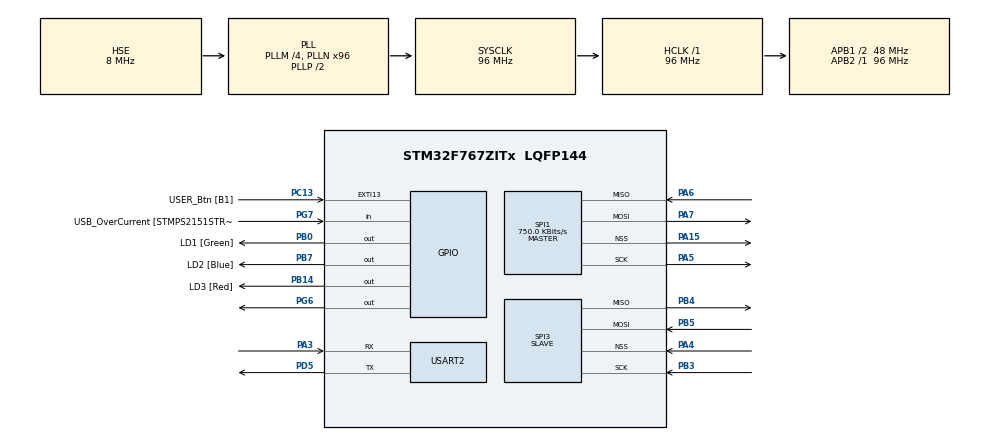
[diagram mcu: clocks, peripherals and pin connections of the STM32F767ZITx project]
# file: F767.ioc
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Mcu.Family=STM32F7
Mcu.Name=STM32F767ZITx
Mcu.Package=LQFP144
NVIC.PriorityGroup=NVIC_PRIORITYGROUP_4
NVIC.SPI1_IRQn=true\:0\:0\:false\:false\:true\:true\:true\:true
NVIC.SPI3_IRQn=true\:0\:0\:false\:false\:true\:true\:true\:true
PA13.GPIO_Label=TMS
PA13.Mode=Serial_Wire
PA13.Signal=SYS_JTMS-SWDIO
PA14.GPIO_Label=TCK
PA14.Mode=Serial_Wire
PA14.Signal=SYS_JTCK-SWCLK
PA15.Mode=NSS_Signal_Hard_Output
PA15.Signal=SPI1_NSS
PA3.Mode=Asynchronous
PA3.Signal=USART2_RX
PA4.Mode=NSS_Signal_Hard_Input
PA4.Signal=SPI3_NSS
PA5.Mode=Full_Duplex_Master
PA5.Signal=SPI1_SCK
PA6.Mode=Full_Duplex_Master
PA6.Signal=SPI1_MISO
PA7.Mode=Full_Duplex_Master
PA7.Signal=SPI1_MOSI
PB0.GPIO_Label=LD1 [Green]
PB0.Signal=GPIO_Output
PB14.GPIO_Label=LD3 [Red]
PB14.Signal=GPIO_Output
PB3.Mode=Full_Duplex_Slave
PB3.Signal=SPI3_SCK
PB4.Mode=Full_Duplex_Slave
PB4.Signal=SPI3_MISO
PB5.Mode=Full_Duplex_Slave
PB5.Signal=SPI3_MOSI
PB7.GPIO_Label=LD2 [Blue]
PB7.Signal=GPIO_Output
PC13.GPIO_Label=USER_Btn [B1]
PC13.Signal=GPXTI13
PC14/OSC32_IN.Mode=LSE-External-Oscillator
PC14/OSC32_IN.Signal=RCC_OSC32_IN
PC15/OSC32_OUT.Mode=LSE-External-Oscillator
PC15/OSC32_OUT.Signal=RCC_OSC32_OUT
PD5.Mode=Asynchronous
PD5.Signal=USART2_TX
PG6.Signal=GPIO_Output
PG7.GPIO_Label=USB_OverCurrent [STMPS2151STR_FAULT]
PG7.Signal=GPIO_Input
PH0/OSC_IN.GPIO_Label=MCO [STM32F103CBT6_PA8]
PH0/OSC_IN.Mode=HSE-External-Clock-Source
PH0/OSC_IN.Signal=RCC_OSC_IN
PH1/OSC_OUT.Mode=HSE-External-Clock-Source
PH1/OSC_OUT.Signal=RCC_OSC_OUT
ProjectManager.HeapSize=0x200
ProjectManager.StackSize=0x400
ProjectManager.TargetToolchain=STM32CubeIDE
RCC.48MHZClocksFreq_Value=24000000
RCC.AHBFreq_Value=96000000
RCC.APB1CLKDivider=RCC_HCLK_DIV2
RCC.APB1Freq_Value=48000000
RCC.APB1TimFreq_Value=96000000
RCC.APB2Freq_Value=96000000
RCC.APB2TimFreq_Value=96000000
RCC.CortexFreq_Value=96000000
RCC.HCLKFreq_Value=96000000
RCC.HSE_VALUE=8000000
RCC.HSI_VALUE=16000000
RCC.PLLM=4
RCC.PLLMUL=RCC_PLL_MUL9
RCC.PLLN=96
RCC.PLLQ=4
RCC.PLLSourceVirtual=RCC_PLLSOURCE_HSE
RCC.PRESCALERUSB=RCC_USBCLKSOURCE_PLL_DIV1_5
RCC.SYSCLKFreq_VALUE=96000000
RCC.SYSCLKSource=RCC_SYSCLKSOURCE_PLLCLK
RCC.SYSCLKSourceVirtual=RCC_SYSCLKSOURCE_PLLCLK
RCC.USBFreq_Value=48000000
RCC.VCOOutputFreq_Value=192000000
SPI1.BaudRatePrescaler=SPI_BAUDRATEPRESCALER_128
SPI1.CLKPhase=SPI_PHASE_1EDGE
SPI1.CLKPolarity=SPI_POLARITY_LOW
SPI1.CRCCalculation=SPI_CRCCALCULATION_DISABLE
SPI1.CalculateBaudRate=750.0 KBits/s
SPI1.DataSize=SPI_DATASIZE_8BIT
SPI1.Direction=SPI_DIRECTION_2LINES
SPI1.Mode=SPI_MODE_MASTER
SPI1.VirtualNSS=VM_NSSHARD
SPI1.VirtualType=VM_MASTER
SPI3.CLKPhase=SPI_PHASE_1EDGE
SPI3.CLKPolarity=SPI_POLARITY_LOW
SPI3.DataSize=SPI_DATASIZE_8BIT
SPI3.Direction=SPI_DIRECTION_2LINES
SPI3.Mode=SPI_MODE_SLAVE
SPI3.VirtualNSS=VM_NSSHARD
SPI3.VirtualType=VM_SLAVE
USART2.VirtualMode-Asynchronous=VM_ASYNC
board=NUCLEO-F767ZI

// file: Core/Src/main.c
/* USER CODE BEGIN Header */
/* USER CODE END Header */
#include "main.h"
#include "spi.h"
#include "usart.h"
#include "gpio.h"

/* USER CODE BEGIN Includes */

#include <string.h>
#include <stdlib.h>
#include "ringbuff.h"
#include "protocol.h"
#include "commands.h"
#include "stdarg.h"
#include "string.h"
#include <ctype.h>
#include <stdio.h>
/* USER CODE END Includes */

/* USER CODE BEGIN PV */
#define USART_TXBUF_LEN 300 //wielkość bufora nadawczego
#define USART_RXBUF_LEN 300 //wielkość bufore odbiorczego
#define BUF_ARCHIVE_LEN 3000 //wielkość bufore archiwum
uint8_t USART_TxBuf[USART_TXBUF_LEN];//tablica bufora nadawczego
uint8_t USART_RxBuf [USART_RXBUF_LEN];//tablica bufora odbiorczego
uint8_t BUF_Arch[BUF_ARCHIVE_LEN]; //tablica bufora archiwum

__IO int USART_TX_Empty = 0;
__IO int USART_TX_Busy = 0;
__IO int USART_RX_Empty = 0;
__IO int USART_RX_Busy = 0;
__IO int BUF_ARCH_Empty = 0;

uint8_t buffer[USART_RXBUF_LEN]; // tablica pomocnicza używana przy odczytywaniu ramki
uint8_t frameState = 0;
                        				// 0 - czekamy na początek ramki
										// 1 - ramka jest przetwarzana

const char device_address[3] = "STM";
char src_address[4];
uint8_t frameLen = 0; //ilość odebranych znaków w ramce
int commLength; // długość komendy

//bufor spi
int numbers[500];
uint8_t rxspibuf[500];
uint8_t txspibuf[500];

struct register_{
	uint8_t ONE_REG;
	uint8_t TWO_REG;
	uint8_t THREE_REG;
	uint8_t FOUR_REG;
	uint8_t FIVE_REG;
	uint8_t SIX_REG;
	uint8_t SEVEN_REG;
	uint8_t EIGHT_REG;
	uint8_t NINE_REG;
	uint8_t TEN_REG;
	uint8_t ELEVEN_REG;
	uint8_t TWELVE_REG;
	uint8_t THIRTEEN_REG;
	uint8_t FOURTEEN_REG;
	uint8_t FIFTEEN_REG;
	uint8_t SIXTEEN_REG;
};

struct register_ reg = {0};
uint32_t* regBaseAddr = (uint32_t*)&reg;
uint8_t regOffset = 1;

void set_reg(uint8_t reg_num, uint8_t value)
{
	if(reg_num<=16)
		*((uint8_t*)((uint32_t)regBaseAddr+(reg_num-1))) = value;
}

uint8_t SPI_Read_reg(uint8_t reg_num)
{
	uint8_t temp=0;

	HAL_SPI_Transmit(&hspi3, ((uint8_t*)((uint32_t)regBaseAddr+(reg_num-1))), 1, 100);
	HAL_SPI_Receive(&hspi1, &temp, 1, 100);
	return temp;
}

void SPI_Write_reg(uint8_t reg_num, int16_t value, uint8_t pos)
{
	uint8_t temp = 0;
	HAL_SPI_Transmit(&hspi1, &temp, 1, 100);
	HAL_SPI_Receive(&hspi3, rxspibuf, 5, 100); // flush SPI

	temp = SPI_Read_reg(reg_num);
	if(value > 0)
		temp |= value << pos;
	else if(value == 0)
		temp &= ~(1 << pos);
	else if(value == -1)
		temp = 0;

	HAL_SPI_Transmit(&hspi1, &temp, 1, 10);
	HAL_SPI_Receive(&hspi3, rxspibuf, 1, 10);
	HAL_SPI_Receive(&hspi3, rxspibuf, 1, 10);
	set_reg(reg_num, *rxspibuf);
}

//ODBIÓR
void HAL_UART_TxCpltCallback(UART_HandleTypeDef *huart){ // funkcja jest wywoływana gdy jest w trybie przerwań
	if(huart==&huart2){ // jeśli pojawia się przerwanie
		if (USART_TX_Empty!=USART_TX_Busy){
			uint8_t tmp=USART_TxBuf[USART_TX_Busy]; //pobieranie znaku z bufora
			USART_TX_Busy++; //korygowanie wskaznika
			if (USART_TX_Busy>=USART_TXBUF_LEN)USART_TX_Busy=0;
			HAL_UART_Transmit_IT(&huart2, &tmp, 1); //wysyłanie kolejnego bajtu 'danych'
		}
	}
}

//NADAWANIE
void HAL_UART_RxCpltCallback(UART_HandleTypeDef *huart){
	if(huart==&huart2){ // jeśli przerwanie nastąpiło to został odebrany znak
		USART_RX_Empty++;
        if (USART_RX_Empty>=USART_RXBUF_LEN)USART_RX_Empty=0;
        HAL_UART_Receive_IT(&huart2, &USART_RxBuf[USART_RX_Empty], 1); //wywołanie funkcji HAL_UART_Receive, aby odebrała kolejny znak
	}
}

//WYSY�?ANIE
void USART_fsend(char* format, ...) {

	char tmp_rs[300];

	__IO int idx;
	va_list valist;
	va_start(valist, format);
	vsprintf(tmp_rs, format, valist); //wyświetlanie stringa z wprowadzonych danych
	va_end(valist);
	idx = USART_TX_Empty;
	for (int i = 0; i < strlen(tmp_rs); i++) {
		USART_TxBuf[idx] = tmp_rs[i]; //przekazywanie po kolei znaków do naszege bufora
		idx++;
		if (idx >= USART_TXBUF_LEN)
			idx = 0;
	}
	__disable_irq(); //wyłaczenie przerwań
	if ((USART_TX_Empty == USART_TX_Busy) && (__HAL_UART_GET_FLAG(&huart2, UART_FLAG_TXE) == SET)) {
		USART_TX_Empty = idx;
		uint8_t tmp = USART_TxBuf[USART_TX_Busy];
		USART_TX_Busy++;
		if (USART_TX_Busy >= USART_TXBUF_LEN)
			USART_TX_Busy = 0;
		HAL_UART_Transmit_IT(&huart2, &tmp, 1);
	} else {
		USART_TX_Empty = idx;
	}
	__enable_irq(); //włączenie przerwań

}

/* USER CODE END PV */

void SystemClock_Config(void);

/* USER CODE BEGIN 0 */

void ErrorKomer() {

	USART_fsend(":%s%s005KOMER;\n\r", device_address, src_address);

}

void ErrorRamer() {

	USART_fsend(":%s%s005RAMER;\n\r", device_address, src_address);

}

void ErrorNull() {

	USART_fsend(":%s%s006NULLER;\n\r", device_address, src_address);

}

void ErrorMax() {

	USART_fsend(":%s%s005MAXER;\n\r", device_address, src_address);

}

void AnalyzeCmd(char *cmd) {

	if(!strncmp(cmd, "WREG", 4)){
		USART_fsend(":%s%s005HELLO;\n\r", device_address, src_address);
		USART_fsend(":%s%s%s;\n\r", device_address, src_address, cmd);

	}else if(!strncmp(cmd, "RREG", 4)){
		USART_fsend(":%s%s005HELLO;\n\r", device_address, src_address);

	    int number_count = 0;

	    for (int i = 0; i < commLength; ++i) // policzmy ile jest liczb w komendzie
	        if (cmd[i] == 'x')
	            ++number_count;

	    //int* numbers = (int*)malloc(number_count * sizeof(int));
	    int index = 0;

	    char* number_str = strtok(cmd, "|"); // podzielmy na tokeny po "|" i bierzemy pierwszy
	    while (number_str) {
	        if (number_str[0] == '0' && number_str[1] == 'x') { // jeśli to szesnastkowy literał
	            numbers[index++] = strtoul(&number_str[2], NULL, 16); // przekonwertujmy go na dzisiętny i dodajmy do tablicy
	        }
	        number_str = strtok(NULL, "|"); // bierzemy kolejny token
	    }

		    //int ilosc = strlen(numbers);
		    //strncpy(txspibuf, numbers, number_count);
		    //int iloscbuf = strlen(txspibuf);
		    //HAL_GPIO_WritePin(GPIOB, GPIO_PIN_6, GPIO_PIN_RESET);
		    //HAL_SPI_Transmit(&hspi1, txspibuf, iloscbuf, 100);
		    //HAL_GPIO_WritePin(GPIOB, GPIO_PIN_6, GPIO_PIN_SET);

		    for (int i = 0; i < number_count; ++i){
		        USART_fsend("0x%02x \n\r", numbers[i]);
		    }

		    //USART_fsend(":%s%s009WRITEBYTE;\n\r", device_address, src_address);

		    //for (int i = 0; i < iloscbuf; i++){
		    //    USART_fsend("0x%02x \n\r", txspibuf[i]);
		    //}

	}else if(!strncmp(cmd, "WBA", 3)){
		USART_fsend(":%s%s005HELLO;\n\r", device_address, src_address);

	    int number_count = 0;

	    for (int i = 0; i < commLength; ++i) // policzmy ile jest liczb w komendzie
	        if (cmd[i] == 'x')
	            ++number_count;

	    //int* numbers = (int*)malloc(number_count * sizeof(int));
	    int index = 0;

	    char* number_str = strtok(cmd, "|"); // podzielmy na tokeny po "|" i bierzemy pierwszy
	    while (number_str) {
	        if (number_str[0] == '0' && number_str[1] == 'x') { // jeśli to szesnastkowy literał
	            numbers[index++] = strtoul(&number_str[2], NULL, 16); // przekonwertujmy go na dzisiętny i dodajmy do tablicy
	        }
	        number_str = strtok(NULL, "|"); // bierzemy kolejny token
	    }

		    //int ilosc = sizeof numbers / sizeof *numbers;
		    //strncpy(txspibuf, numbers, number_count);
		    //int iloscbuf = strlen(txspibuf);
		    //HAL_GPIO_WritePin(GPIOB, GPIO_PIN_6, GPIO_PIN_RESET);
		    //HAL_SPI_Transmit(&hspi1, txspibuf, iloscbuf, 100);
		    //HAL_GPIO_WritePin(GPIOB, GPIO_PIN_6, GPIO_PIN_SET);

		    //USART_fsend("%d \n\r", ilosc);
		    for (int i = 0; i < number_count; ++i){
		        USART_fsend("0x%02x \n\r", numbers[i]);
		    }

		    //USART_fsend(":%s%s009WRITEBYTE;\n\r", device_address, src_address);

		    //for (int i = 0; i < iloscbuf; i++){
		    //    USART_fsend("0x%02x \n\r", txspibuf[i]);
		    //}

	}
	else{
		ErrorKomer();
	}

}
/* USER CODE END 0 */

int main(void)
{
  /* USER CODE BEGIN 1 */
	buffer_t measbuff;
	framecontent myFrame;
  /* USER CODE END 1 */

  /* MCU Configuration--------------------------------------------------------*/

  /* Reset of all peripherals, Initializes the Flash interface and the Systick. */
  HAL_Init();

  /* Configure the system clock */
  SystemClock_Config();

  /* Initialize all configured peripherals */
  MX_GPIO_Init();
  MX_SPI1_Init();
  MX_SPI3_Init();
  MX_USART2_UART_Init();
  /* USER CODE BEGIN 2 */
  uint32_t value[3] = {0, 0, 0};
//  HAL_ADC_Start_DMA(&hadc1, value, 3);
//  HAL_TIM_Base_Start_IT(&htim1);
//  HAL_TIM_Base_Start_IT(&htim2);
//  HAL_TIM_Base_Start_IT(&htim3);
  bufferInit(&measbuff); //fill measurement buffer with dummy data
  for(uint32_t i = 0; i < RING_BUF_SIZE; ++i)
  {
	  bufferAddElement(&measbuff, (i+1234)*(i%1548));
  }
  /* USER CODE END 2 */

  /* Infinite loop */
  /* USER CODE BEGIN WHILE */

//  HAL_UART_Receive_IT(&huart3, (uint8_t*)&RX.c, 1);

//  HAL_SPI_Receive_DMA(&hspi3, rcv, 1);
//  HAL_SPI_Receive_DMA(&hspi1, temp, 1);

  HAL_UART_Receive_IT(&huart2, &USART_RxBuf[USART_RX_Empty], 1);
  while(1)
                                                   {

	uint8_t oneFrameChar; // pojedynczy znak pobrany z bufora odbiorczego

	if (USART_RX_Busy != USART_RX_Empty) { // rozpoczęcie poszukiwania ramki

	  oneFrameChar = USART_RxBuf[USART_RX_Busy]; // pobieranie pierwszego znaku

		USART_RX_Busy++;
		if (USART_RX_Busy >= USART_RXBUF_LEN) {
			USART_RX_Busy = 0;
		}

		if (oneFrameChar == 0x3A /* : */) { // jeżeli znaleziono znak początku ramki
				frameState = 1;
				frameLen = 0;
				continue;
		}

	  if(frameState == 1) { // jeżeli znak początku ramki został znaleziony

		buffer[frameLen] = oneFrameChar; // kolekcjonowanie ramki
		frameLen++;

		//256 - maksymalna ilość danych
		//9 - minimalna długość ramki
		//1 - znak końca ramki (jest pobierany przy zczytywaniu ramki z bufora odbiorczego)
		if(frameLen > (256 + 9 + 1)) { // jeżeli ilość znaków w ramce przekroczy dopuszczalny rozmiar ramki (266 znaków)
			frameLen = 0; // ramka jest resetowana
			frameState = 0; // i następuje poszukiwanie nowej ramki
		}

		if (oneFrameChar == 0x3B /* ; */) { // kolekcjonowanie do końca ramki

			if (frameLen - 1 > 9) { // jeżeli podano więcej znaków, niż minimalna ilość znaków w ramce
				char destination_address[4];
				char data_length[4];

				memcpy(src_address, &buffer[0], 3);
				memcpy(destination_address, &buffer[3], 3);
				memcpy(data_length, &buffer[6], 3);

				src_address[3] = 0;
				destination_address[3] = 0;
				data_length[3] = 0;

				commLength = atoi(data_length); // suma kontrolna, ale też długość danych

				if(!strncmp(device_address, ":", 1) || !strncmp(device_address, ";", 1) || !strncmp(destination_address, ":", 1) || !strncmp(destination_address, ";", 1)){
					ErrorRamer();
				}else{
					if (strncmp(device_address, destination_address, 3) == 0) {
						if (commLength <= 256) {

							if ((9 + commLength) == (frameLen - 1)) { // jeżeli komenda została przysłana
								char cmd[commLength + 1];

								memcpy(cmd, &buffer[9], commLength);
								cmd[commLength] = 0; // dodanie znaku null na końcu tablicy

								AnalyzeCmd(cmd); // wywołanie funkcji analizującej komendę

							} else ErrorRamer();

						} else ErrorRamer();

					 } else ErrorRamer();

				}

				} else ErrorRamer();

		frameState = 0; // reset ramki
		frameLen = 0;
		}
	}
	}

	uint8_t v = 0;
	SPI_Write_reg(1, 1, 0);
	SPI_Write_reg(1, 1, 1);
	SPI_Write_reg(1, 1, 7);
	SPI_Write_reg(2, 127, 0);
	SPI_Write_reg(8, 199, 0);
	SPI_Write_reg(15, 16, 0);
	SPI_Write_reg(16, 155, 0);
	v = SPI_Read_reg(2);
	SPI_Write_reg(2, 255, 0);
	v = SPI_Read_reg(2);
	SPI_Write_reg(2, -1, 0);
	v = SPI_Read_reg(1);
	v = SPI_Read_reg(2);
	v = SPI_Read_reg(8);
	v = SPI_Read_reg(15);
	v = SPI_Read_reg(16);
	int a = 0;
	a++;
  }
//	if (RX.RX_Frame_Cplt == 1) //nastapilo zakonczenie nadawania ramki
//	{
//		myFrame = prarseRxBuffer();
//		if(myFrame.frameOK)
//		{
//			command_t co = commands(myFrame.command, &measbuff);
//			HAL_UART_Transmit_IT(&huart3, co.TX_payload, co.len);
//			HAL_UART_Transmit_IT(&huart3, '/n', 1);
//		}
//		else
//		{
//			HAL_UART_Transmit_IT(&huart3, (const uint8_t*)"frame Error\n", strlen("frame Error\n"));
//		}
//	}
    /* USER CODE END WHILE */

}

void SystemClock_Config(void)
{
  RCC_OscInitTypeDef RCC_OscInitStruct = {0};
  RCC_ClkInitTypeDef RCC_ClkInitStruct = {0};

  /** Configure LSE Drive Capability
  */
  HAL_PWR_EnableBkUpAccess();

  /** Configure the main internal regulator output voltage
  */
  __HAL_RCC_PWR_CLK_ENABLE();
  __HAL_PWR_VOLTAGESCALING_CONFIG(PWR_REGULATOR_VOLTAGE_SCALE3);

  /** Initializes the RCC Oscillators according to the specified parameters
  * in the RCC_OscInitTypeDef structure.
  */
  RCC_OscInitStruct.OscillatorType = RCC_OSCILLATORTYPE_HSE;
  RCC_OscInitStruct.HSEState = RCC_HSE_BYPASS;
  RCC_OscInitStruct.PLL.PLLState = RCC_PLL_ON;
  RCC_OscInitStruct.PLL.PLLSource = RCC_PLLSOURCE_HSE;
  RCC_OscInitStruct.PLL.PLLM = 4;
  RCC_OscInitStruct.PLL.PLLN = 96;
  RCC_OscInitStruct.PLL.PLLP = RCC_PLLP_DIV2;
  RCC_OscInitStruct.PLL.PLLQ = 4;
  RCC_OscInitStruct.PLL.PLLR = 2;
  if (HAL_RCC_OscConfig(&RCC_OscInitStruct) != HAL_OK)
  {
    Error_Handler();
  }

  /** Activate the Over-Drive mode
  */
  if (HAL_PWREx_EnableOverDrive() != HAL_OK)
  {
    Error_Handler();
  }

  /** Initializes the CPU, AHB and APB buses clocks
  */
  RCC_ClkInitStruct.ClockType = RCC_CLOCKTYPE_HCLK|RCC_CLOCKTYPE_SYSCLK
                              |RCC_CLOCKTYPE_PCLK1|RCC_CLOCKTYPE_PCLK2;
  RCC_ClkInitStruct.SYSCLKSource = RCC_SYSCLKSOURCE_PLLCLK;
  RCC_ClkInitStruct.AHBCLKDivider = RCC_SYSCLK_DIV1;
  RCC_ClkInitStruct.APB1CLKDivider = RCC_HCLK_DIV2;
  RCC_ClkInitStruct.APB2CLKDivider = RCC_HCLK_DIV1;

  if (HAL_RCC_ClockConfig(&RCC_ClkInitStruct, FLASH_LATENCY_3) != HAL_OK)
  {
    Error_Handler();
  }
}

void Error_Handler(void)
{
}
